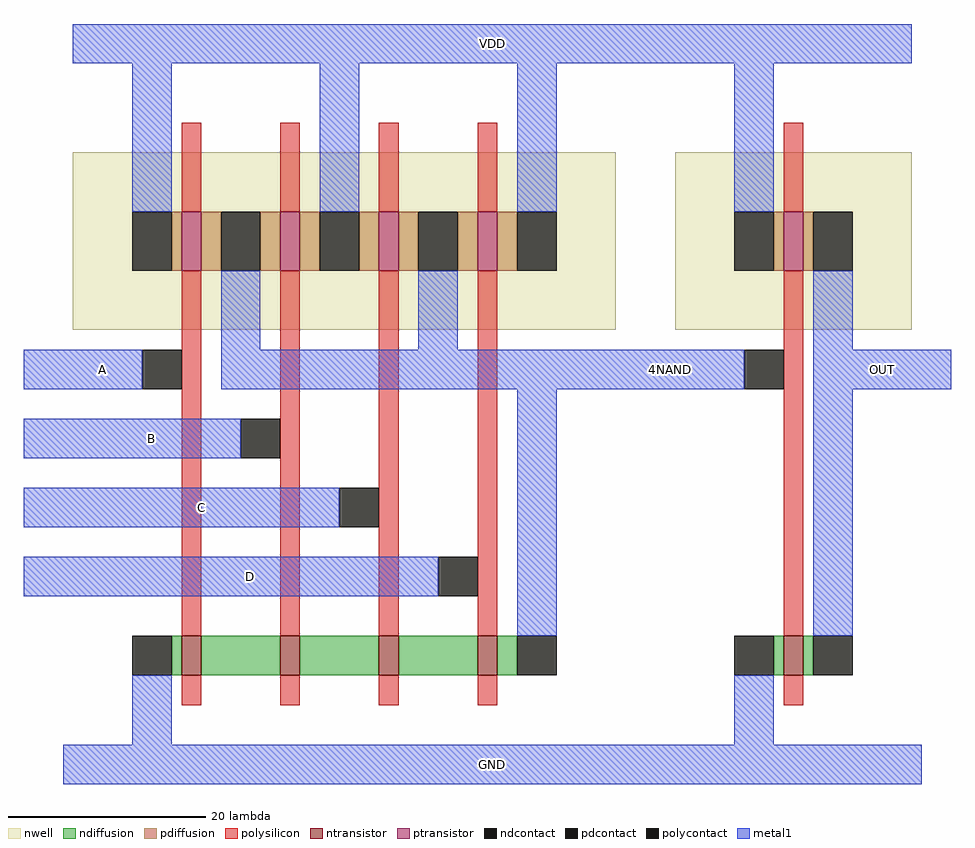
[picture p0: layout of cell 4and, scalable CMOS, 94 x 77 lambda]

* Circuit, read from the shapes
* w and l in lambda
.subckt 4and 4NAND A B C D GND OUT VDD
M1 n1 A GND VSUBS nfet w=4 l=2
M2 n2 B n1 VSUBS nfet w=4 l=2
M3 n3 C n2 VSUBS nfet w=4 l=2
M4 4NAND D n3 VSUBS nfet w=4 l=2
M5 OUT 4NAND GND VSUBS nfet w=4 l=2
M6 4NAND A VDD n4 pfet w=6 l=2
M7 VDD B 4NAND n4 pfet w=6 l=2
M8 4NAND C VDD n4 pfet w=6 l=2
M9 VDD D 4NAND n4 pfet w=6 l=2
M10 OUT 4NAND VDD n5 pfet w=6 l=2
.ends

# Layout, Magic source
magic
tech scmos
<< nwell >>
rect 0 -1 55 17
rect 61 -1 85 17
<< ntransistor >>
rect 11 -36 13 -32
rect 21 -36 23 -32
rect 31 -36 33 -32
rect 41 -36 43 -32
rect 72 -36 74 -32
<< ptransistor >>
rect 11 5 13 11
rect 21 5 23 11
rect 31 5 33 11
rect 41 5 43 11
rect 72 5 74 11
<< ndiffusion >>
rect 10 -36 11 -32
rect 13 -36 21 -32
rect 23 -36 31 -32
rect 33 -36 41 -32
rect 43 -36 45 -32
rect 71 -36 72 -32
rect 74 -36 75 -32
<< pdiffusion >>
rect 10 5 11 11
rect 13 5 15 11
rect 19 5 21 11
rect 23 5 25 11
rect 29 5 31 11
rect 33 5 35 11
rect 39 5 41 11
rect 43 5 45 11
rect 71 5 72 11
rect 74 5 75 11
<< ndcontact >>
rect 6 -36 10 -32
rect 45 -36 49 -32
rect 67 -36 71 -32
rect 75 -36 79 -32
<< pdcontact >>
rect 6 5 10 11
rect 15 5 19 11
rect 25 5 29 11
rect 35 5 39 11
rect 45 5 49 11
rect 67 5 71 11
rect 75 5 79 11
<< polysilicon >>
rect 11 11 13 20
rect 21 11 23 20
rect 31 11 33 20
rect 41 11 43 20
rect 72 11 74 20
rect 11 -32 13 5
rect 21 -32 23 5
rect 31 -32 33 5
rect 41 -32 43 5
rect 72 -32 74 5
rect 11 -39 13 -36
rect 21 -39 23 -36
rect 31 -39 33 -36
rect 41 -39 43 -36
rect 72 -39 74 -36
<< polycontact >>
rect 7 -7 11 -3
rect 17 -14 21 -10
rect 27 -21 31 -17
rect 37 -28 41 -24
rect 68 -7 72 -3
<< metal1 >>
rect 0 26 85 30
rect 6 11 10 26
rect 25 11 29 26
rect 45 11 49 26
rect 67 11 71 26
rect 15 -3 19 5
rect 35 -3 39 5
rect 75 -3 79 5
rect -5 -7 7 -3
rect 15 -7 68 -3
rect 75 -7 89 -3
rect -5 -14 17 -10
rect -5 -21 27 -17
rect -5 -28 37 -24
rect 45 -32 49 -7
rect 75 -32 79 -7
rect 6 -43 10 -36
rect 67 -43 71 -36
rect -1 -47 86 -43
<< labels >>
rlabel metal1 -5 -7 11 -3 1 A
rlabel metal1 -5 -14 21 -10 1 B
rlabel metal1 -5 -21 31 -17 1 C
rlabel metal1 75 -7 89 -3 1 OUT
rlabel metal1 -5 -28 41 -24 1 D
rlabel metal1 49 -7 72 -3 1 4NAND
rlabel metal1 0 26 85 30 5 VDD
rlabel metal1 -1 -47 86 -43 1 GND
<< end >>
